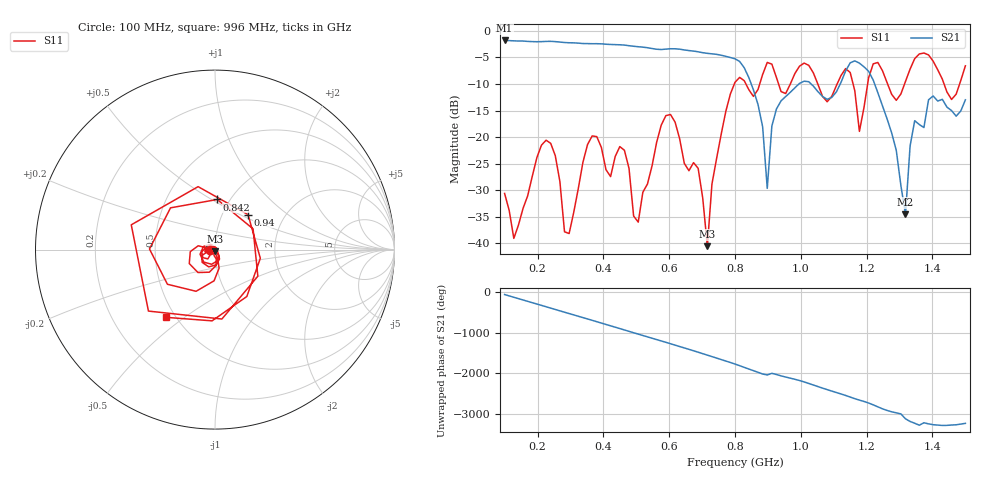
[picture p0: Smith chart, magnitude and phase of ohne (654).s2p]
! NanoVNA-App
! Date: 2025-09-25 14:25:53
! Start: 100MHz Stop: 1,5GHz Points: 101
! S-Parameter data: F S11 S21 S12 S22
# Hz S RI R 50
!  Frequency  S11_Real  S11_Imag  S21_Real  S21_Imag  S12_Real  S12_Imag  S22_Real  S22_Imag
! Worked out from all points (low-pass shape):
!   101 points, 100 MHz to 1.5 GHz, reference 50 ohm
!   highest |S21| = -1.79 dB at 100 MHz (marker M1); lowest = -34.6 dB at 1.318 GHz (marker M2)
!   |S21| within 3 dB of the highest: start of sweep to 772.5 MHz
!   lowest |S11| = -40.6 dB at 716 MHz (marker M3), VSWR 1.02, Z = 49.9 - j0.924 ohm
!   |S11| at or under -10 dB: start of sweep to 798 MHz; 833.2 MHz to 875.1 MHz (41.93 MHz wide, 4.91 % of centre); 1.052 GHz to 1.11 GHz (58.74 MHz wide, 5.43 % of centre) (the widest 3 of 7)
!   S12 and S22 are empty: the file has one direction only
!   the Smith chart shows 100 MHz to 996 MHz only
!   S11 on the Smith chart (normalised r, x): 100 MHz: 0.94, -0.01; 842 MHz: 0.88, +0.53; 940 MHz: 1.32, +0.55; 996 MHz: 0.45, -0.43
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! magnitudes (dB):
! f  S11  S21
! 100 MHz  -30.6  -1.8
! 128 MHz  -39.1  -1.9
! 226 MHz  -20.6  -2.0
! 296 MHz  -38.2  -2.2
! 338 MHz  -24.7  -2.4
! 464 MHz  -22.5  -2.7
! 506 MHz  -36.0  -3.0
! 576 MHz  -17.7  -3.5
! 688 MHz  -25.9  -3.9
! 716 MHz  -40.6  -4.2
! 800 MHz  -9.7  -5.2
! 842 MHz  -11.1  -8.8
! 898 MHz  -5.9  -29.7
! 940 MHz  -11.4  -13.2
! 996 MHz  -6.6  -9.9
! 1.038 GHz  -7.9  -10.4
! 1.178 GHz  -18.9  -6.1
! 1.22 GHz  -6.2  -9.3
! 1.276 GHz  -12.0  -19.2
! 1.318 GHz  -9.5  -34.6
! 1.346 GHz  -5.2  -16.9
! 1.5 GHz  -6.6  -13.0
